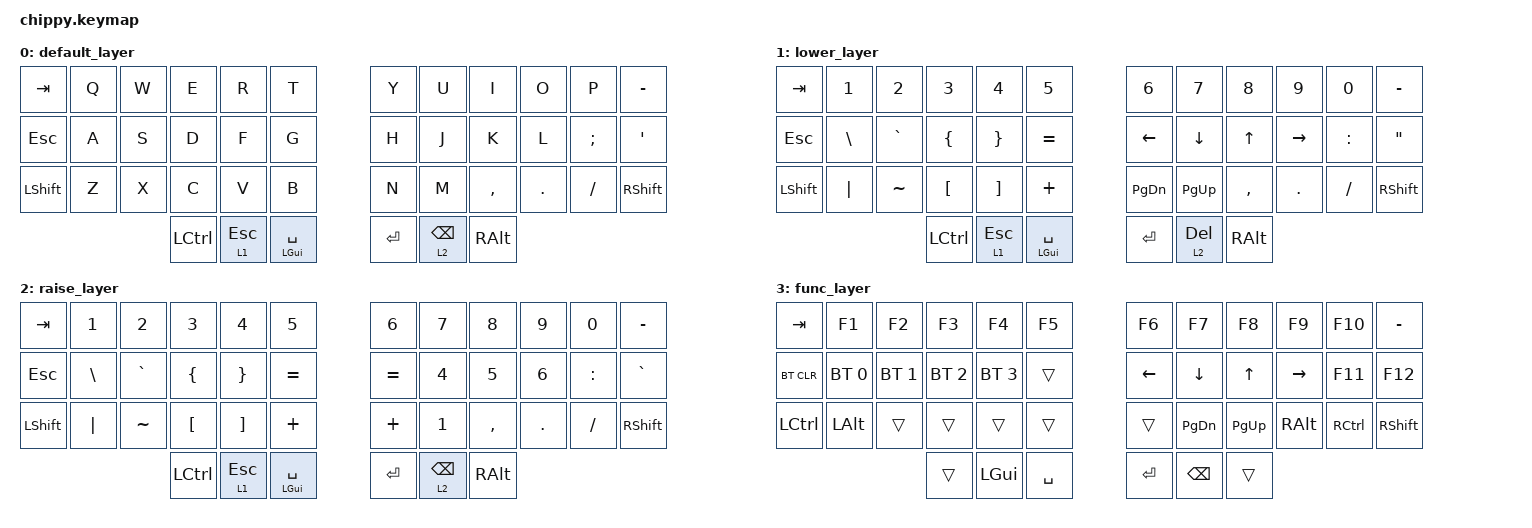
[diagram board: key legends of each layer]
/*
 * Copyright (c) 2020 The ZMK Contributors
 *
 * SPDX-License-Identifier: MIT
 */

#include <behaviors.dtsi>
#include <dt-bindings/zmk/keys.h>
#include <dt-bindings/zmk/bt.h>

/ {
        behaviors {
                hm: homerow_mods {
                    compatible = "zmk,behavior-hold-tap";
                    #binding-cells = <2>;
                    tapping-term-ms = <200>;
                    quick-tap-ms = <200>;
                    require-prior-idle-ms = <125>;
                    flavor = "tap-preferred";
                    bindings = <&kp>, <&kp>;
                };
                bhm: balanced_homerow_mods {
                    compatible = "zmk,behavior-hold-tap";
                    #binding-cells = <2>;
                    tapping-term-ms = <200>;    // <---[[moderate duration]]
                    quick-tap-ms = <0>;
                    flavor = "balanced";
                    bindings = <&kp>, <&kp>;
                };
                ht: hold_tap {
                    compatible = "zmk,behavior-hold-tap";
                    #binding-cells = <2>;
                    flavor = "hold-preferred";
                    tapping-term-ms = <400>;
                    quick-tap-ms = <200>;
                    bindings = <&kp>, <&kp>;
                };
                prog_caps: prog_caps {
                    compatible = "zmk,behavior-caps-word";
                    #binding-cells = <0>;
                    continue-list = <UNDERSCORE>;
                };
        };
        conditional_layers {
                    compatible = "zmk,conditional-layers";
                    tri_layer {
                            if-layers = <1 2>;
                            then-layer = <3>;
                    };
        }; 
        combos {
                compatible = "zmk,combos";
                combo_esc {
                    timeout-ms = <50>;
                    key-positions = <14 15 16 17>;
                    bindings = <&prog_caps>;
                };
        };
        keymap {
                compatible = "zmk,keymap";

                default_layer {
   /*                      bindings = < */
   /* &kp TAB           &kp Q         &kp W         &kp E         &kp R         &kp T          &kp Y         &kp U         &kp I       &kp O      &kp P         &kp MINUS */
   /* &kp ESC           &hm LGUI A    &hm LALT S    &hm LCTRL D   &hm LSHIFT F  &kp G          &kp H         &hm RSHIFT J  &hm LCTRL K &hm LALT L &hm LGUI SEMI &kp SQT */
   /* &kp LSHIFT        &kp Z         &kp X         &kp C         &kp V         &kp B          &kp N         &kp M         &kp COMMA   &kp DOT    &kp FSLH      &kp RSHIFT */
   /*                                               &kp LCTRL     &lt 1 ESC     &hm LGUI SPACE &kp RET       &lt 2 BSPC    &kp RALT */
   /*                      >; */
   /*              }; */
                        bindings = <
   &kp TAB           &kp Q         &kp W         &kp E         &kp R         &kp T          &kp Y         &kp U         &kp I       &kp O      &kp P         &kp MINUS
   &kp ESC           &kp A         &kp S         &kp D         &kp F         &kp G          &kp H         &kp J         &kp K       &kp L      &kp SEMI      &kp SQT
   &kp LSHIFT        &kp Z         &kp X         &kp C         &kp V         &kp B          &kp N         &kp M         &kp COMMA   &kp DOT    &kp FSLH      &kp RSHIFT
                                                 &kp LCTRL     &lt 1 ESC     &hm LGUI SPACE &kp RET       &lt 2 BSPC    &kp RALT
                        >;
                };

                lower_layer {
                        bindings = <
   &kp TAB           &kp N1        &kp N2        &kp N3        &kp N4        &kp N5         &kp N6        &kp N7        &kp N8    &kp N9      &kp N0       &kp MINUS
   &kp ESC           &kp BSLH      &kp GRAVE     &kp LBRC      &kp RBRC      &kp EQUAL      &kp LEFT      &kp DOWN      &kp UP    &kp RIGHT   &kp COLON    &kp DQT
   &kp LSHIFT        &kp PIPE      &kp TILDE     &kp LBKT      &kp RBKT      &kp PLUS       &kp PG_DN     &kp PG_UP     &kp COMMA &kp DOT     &kp FSLH    &kp RSHIFT
                                                 &kp LCTRL     &lt 1 ESC     &hm LGUI SPACE &kp RET       &lt 2 DEL     &kp RALT
                                                 // &kp LCTRL     &kp LGUI      &lt 1 SPACE    &lt 2 RET     &kp DEL       &kp RALT
                                                 // &trans        &kp LGUI      &kp SPACE      &kp RET       &kp DEL       &mo 2
                        >;
                };

                raise_layer {
                        bindings = <
   &kp TAB           &kp N1        &kp N2       &kp N3         &kp N4        &kp N5          &kp N6        &kp N7        &kp N8      &kp N9    &kp N0     &kp MINUS
   &kp ESC           &kp BSLH      &kp GRAVE    &kp LBRC       &kp RBRC      &kp EQUAL       &kp EQUAL     &kp N4        &kp N5      &kp N6    &kp COLON  &kp GRAVE
   &kp LSHIFT        &kp PIPE      &kp TILDE    &kp LBKT       &kp RBKT      &kp PLUS        &kp PLUS      &kp N1        &kp COMMA   &kp DOT   &kp FSLH   &kp RSHIFT
                                                &kp LCTRL      &lt 1 ESC     &hm LGUI SPACE  &kp RET       &lt 2 BSPC    &kp RALT
                                               // &kp LCTRL      &kp LGUI      &lt 1 SPACE     &lt 2 RET     &kp BSPC      &kp RALT
                                               // &mo 1          &kp LGUI      &kp SPACE       &kp RET       &kp BSPC      &trans
                        >;
                };

                func_layer {
                        bindings = <
   &kp TAB          &kp F1        &kp F2        &kp F3        &kp F4        &kp F5          &kp F6        &kp F7         &kp F8     &kp F9    &kp F10    &kp MINUS
   &bt BT_CLR       &bt BT_SEL 0  &bt BT_SEL 1  &bt BT_SEL 2  &bt BT_SEL 3  &trans          &kp LEFT      &kp DOWN       &kp UP     &kp RIGHT &kp F11    &kp F12
   &kp LCTRL        &kp LALT      &trans        &trans        &trans        &trans          &trans        &kp PG_DN      &kp PG_UP  &kp RALT  &kp RCTRL  &kp RSHIFT
                                                &trans        &kp LGUI      &kp SPACE       &kp RET       &kp BSPC       &trans
                        >;
                };

        };

};
